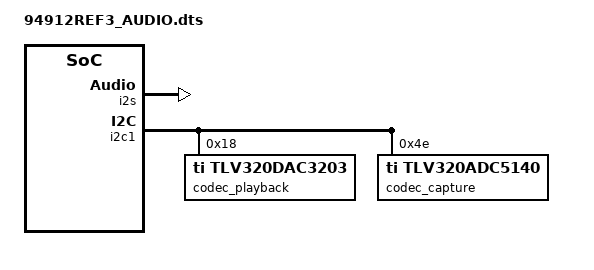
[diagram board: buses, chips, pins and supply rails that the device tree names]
#include "94912REF3.dts"

// audio daughtercard shared i2c signal for sfp0 on this board.
// Disable it just for the audio board id
&sfp0 {
	status = "disabled";
};

&i2s {
	status = "okay";
};

&i2c1 {
	#address-cells = <1>;
	#size-cells = <0>;
	codec_playback: codec_palyback@18{
		compatible = "ti,tlv320dac3203";
		reg = <0x18>;
	};
	codec_capture: codec_capture@4e{
		compatible = "ti,tlv320adc5140";
		reg = <0x4e>;
	};
};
